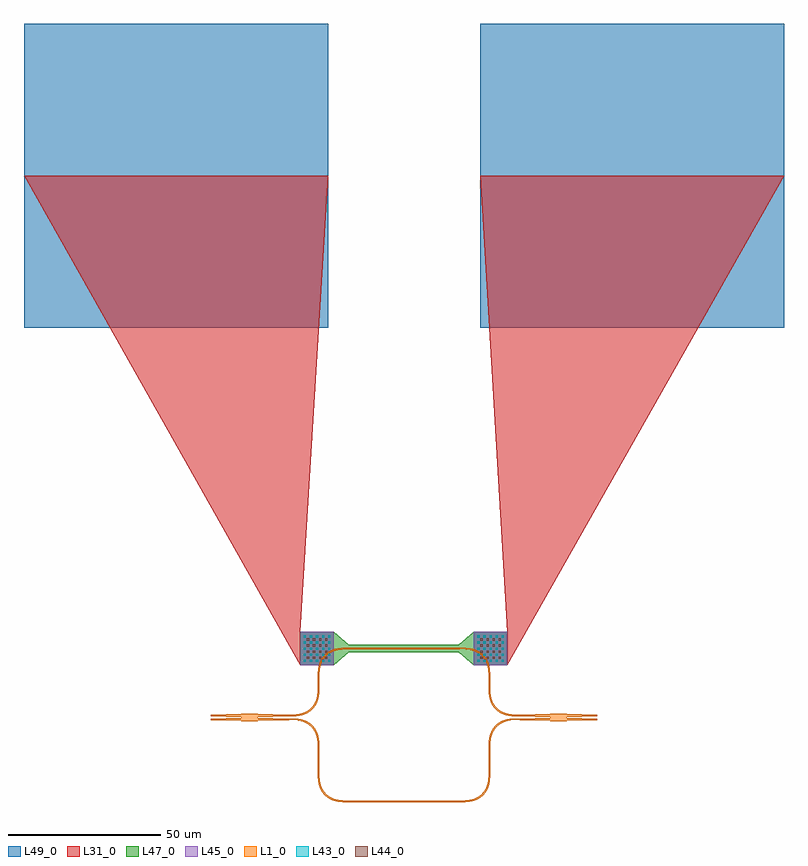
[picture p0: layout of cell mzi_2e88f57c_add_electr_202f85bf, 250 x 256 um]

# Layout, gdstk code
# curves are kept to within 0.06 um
from math import pi, radians
import gdstk
lib = gdstk.Library(unit=1e-6, precision=1e-09)
def R(c, l, rs):  # rectangles x0, y0, x1, y1
    for r in rs: c.add(gdstk.rectangle(r[:2], r[2:], *l))
def P(c, l, *ps):  # polygons
    for p in ps: c.add(gdstk.Polygon(p, *l))
L1_0 = (1, 0)
L31_0 = (31, 0)
L43_0 = (43, 0)
L44_0 = (44, 0)
L45_0 = (45, 0)
L47_0 = (47, 0)
L49_0 = (49, 0)

mmi2x2 = lib.new_cell('mmi2x2')
R(mmi2x2, L1_0, [(0,-1.25,5.5,1.25)])
P(mmi2x2, L1_0, [(-10,-0.375),(0,-0.125),(0,-1.125),(-10,-0.875)],
  [(-10,0.875),(0,1.125),(0,0.125),(-10,0.375)],
  [(15.5,0.375),(5.5,0.125),(5.5,1.125),(15.5,0.875)],
  [(15.5,-0.875),(5.5,-1.125),(5.5,-0.125),(15.5,-0.375)])

bend_euler_9e0718a0 = lib.new_cell('bend_euler_9e0718a0')
P(bend_euler_9e0718a0, L1_0, [(0,-0.25),(2.724,-0.165),(3.761,-0.026),(4.739,0.201),(5.691,0.544),(6.428,0.918),(7.158,1.402),(7.859,2.003),(8.479,2.689),(9.033,3.488),(9.456,4.309),(9.799,5.261),(10.026,6.239),(10.165,7.276),(10.25,10),(9.75,10),(9.634,7.004),(9.463,5.971),(9.18,4.971),(8.508,3.59),(7.575,2.425),(6.41,1.492),(5.029,0.82),(4.029,0.537),(2.996,0.366),(0,0.25)])

straight_a4be237b = lib.new_cell('straight_a4be237b')
R(straight_a4be237b, L1_0, [(0,-0.25,7,0.25)])

straight_6870e926 = lib.new_cell('straight_6870e926')
R(straight_6870e926, L1_0, [(0,-0.25,0.1,0.25)])

straight_fba69bc3 = lib.new_cell('straight_fba69bc3')
R(straight_fba69bc3, L1_0, [(0,-0.25,2,0.25)])

straight_1aa74c1c = lib.new_cell('straight_1aa74c1c')
R(straight_1aa74c1c, L1_0, [(0,-0.25,18.05,0.25)])
R(straight_1aa74c1c, L47_0, [(0,-1.25,18.05,1.25)])

component_sequence_45111 = lib.new_cell('component_sequence_45111566')
component_sequence_45111.add(gdstk.Reference(straight_1aa74c1c, (0,0)))
component_sequence_45111.add(gdstk.Reference(straight_1aa74c1c, (18.05,0)))

compass_8277d85c = lib.new_cell('compass_8277d85c')
R(compass_8277d85c, L47_0, [(-5.5,-5.5,5.5,5.5)])

compass_6419de30 = lib.new_cell('compass_6419de30')
R(compass_6419de30, L45_0, [(-5.5,-5.5,5.5,5.5)])

compass_0253aeff = lib.new_cell('compass_0253aeff')
R(compass_0253aeff, L49_0, [(-5.5,-5.5,5.5,5.5)])

via_ebd8e362 = lib.new_cell('via_ebd8e362')
R(via_ebd8e362, L44_0, [(-0.35,-0.35,0.35,0.35)])

via_fd13653e = lib.new_cell('via_fd13653e')
R(via_fd13653e, L43_0, [(-0.35,-0.35,0.35,0.35)])

via_stack_02e7e014 = lib.new_cell('via_stack_02e7e014')
via_stack_02e7e014.add(gdstk.Reference(compass_8277d85c, (0,0)))
via_stack_02e7e014.add(gdstk.Reference(compass_6419de30, (0,0)))
via_stack_02e7e014.add(gdstk.Reference(compass_0253aeff, (0,0)))
r = gdstk.Reference(via_ebd8e362, (-3,-3)); r.repetition = gdstk.Repetition(4, 4, v1=(2,0), v2=(0,2)); via_stack_02e7e014.add(r)
r = gdstk.Reference(via_fd13653e, (-4,-4)); r.repetition = gdstk.Repetition(5, 5, v1=(2,0), v2=(0,2)); via_stack_02e7e014.add(r)

taper_13d39a01 = lib.new_cell('taper_13d39a01')
P(taper_13d39a01, L47_0, [(0,5.5),(5,1.25),(5,-1.25),(0,-5.5)])

straight_heater_metal_u_ = lib.new_cell('straight_heater_metal_u_f37dff5c')
straight_heater_metal_u_.add(gdstk.Reference(component_sequence_45111, (0,0)))
straight_heater_metal_u_.add(gdstk.Reference(via_stack_02e7e014, (-10.5,0)))
straight_heater_metal_u_.add(gdstk.Reference(via_stack_02e7e014, (46.6,0)))
straight_heater_metal_u_.add(gdstk.Reference(taper_13d39a01, (-5,0)))
straight_heater_metal_u_.add(gdstk.Reference(taper_13d39a01, (41.1,0), rotation=pi))

straight_fa3a3f2f = lib.new_cell('straight_fa3a3f2f')
R(straight_fa3a3f2f, L1_0, [(0,-0.25,0.09,0.25)])

straight_c804d8bd = lib.new_cell('straight_c804d8bd')
R(straight_c804d8bd, L1_0, [(0,-0.25,2,0.25)])

straight_4ae164bc = lib.new_cell('straight_4ae164bc')
R(straight_4ae164bc, L1_0, [(0,-0.25,0.01,0.25)])

straight_d494dd99 = lib.new_cell('straight_d494dd99')
R(straight_d494dd99, L1_0, [(0,-0.25,36.09,0.25)])

straight_32d14105 = lib.new_cell('straight_32d14105')
R(straight_32d14105, L1_0, [(0,-0.25,7,0.25)])

mzi_2e88f57c = lib.new_cell('mzi_2e88f57c')
mzi_2e88f57c.add(gdstk.Reference(mmi2x2, (0,0)))
mzi_2e88f57c.add(gdstk.Reference(mmi2x2, (107.2,0), rotation=pi, x_reflection=True))
mzi_2e88f57c.add(gdstk.Reference(bend_euler_9e0718a0, (15.5,-0.625), x_reflection=True))
mzi_2e88f57c.add(gdstk.Reference(straight_a4be237b, (25.5,-10.625), rotation=3*pi/2))
mzi_2e88f57c.add(gdstk.Reference(bend_euler_9e0718a0, (25.5,-17.625), rotation=3*pi/2))
mzi_2e88f57c.add(gdstk.Reference(straight_6870e926, (35.5,-27.625)))
mzi_2e88f57c.add(gdstk.Reference(bend_euler_9e0718a0, (15.5,0.625)))
mzi_2e88f57c.add(gdstk.Reference(straight_fba69bc3, (25.5,10.625), rotation=pi/2))
mzi_2e88f57c.add(gdstk.Reference(bend_euler_9e0718a0, (35.5,22.625), rotation=pi))
mzi_2e88f57c.add(gdstk.Reference(straight_heater_metal_u_, (35.5,22.625)))
mzi_2e88f57c.add(gdstk.Reference(bend_euler_9e0718a0, (71.69,22.625), x_reflection=True))
mzi_2e88f57c.add(gdstk.Reference(bend_euler_9e0718a0, (81.69,10.625), rotation=3*pi/2))
mzi_2e88f57c.add(gdstk.Reference(straight_fa3a3f2f, (71.6,22.625)))
mzi_2e88f57c.add(gdstk.Reference(straight_c804d8bd, (81.69,12.625), rotation=3*pi/2))
mzi_2e88f57c.add(gdstk.Reference(straight_4ae164bc, (91.69,0.625)))
mzi_2e88f57c.add(gdstk.Reference(bend_euler_9e0718a0, (71.69,-27.625)))
mzi_2e88f57c.add(gdstk.Reference(bend_euler_9e0718a0, (81.69,-10.625), rotation=pi/2, x_reflection=True))
mzi_2e88f57c.add(gdstk.Reference(straight_d494dd99, (35.6,-27.625)))
mzi_2e88f57c.add(gdstk.Reference(straight_32d14105, (81.69,-17.625), rotation=pi/2))
mzi_2e88f57c.add(gdstk.Reference(straight_4ae164bc, (91.69,-0.625)))

compass_f8d1f57e = lib.new_cell('compass_f8d1f57e')
R(compass_f8d1f57e, L49_0, [(-50,-50,50,50)])

pad = lib.new_cell('pad')
pad.add(gdstk.Reference(compass_f8d1f57e, (0,0)))

pad_array_d3f18571 = lib.new_cell('pad_array_d3f18571')
r = gdstk.Reference(pad, (0,0)); r.repetition = gdstk.Repetition(2, 1, v1=(150,0), v2=(0,150)); pad_array_d3f18571.add(r)

route_quad_9da2ab6b = lib.new_cell('route_quad_9da2ab6b')
P(route_quad_9da2ab6b, L31_0, [(-71.4,178.125),(28.6,178.125),(19.5,28.125),(19.5,17.125)])

route_quad_488a21bc = lib.new_cell('route_quad_488a21bc')
P(route_quad_488a21bc, L31_0, [(87.6,17.125),(87.6,28.125),(78.6,178.125),(178.6,178.125)])

mzi_2e88f57c_add_electr_ = lib.new_cell('mzi_2e88f57c_add_electr_202f85bf')
mzi_2e88f57c_add_electr_.add(gdstk.Reference(mzi_2e88f57c, (0,0)))
mzi_2e88f57c_add_electr_.add(gdstk.Reference(pad_array_d3f18571, (-21.4,178.125)))
mzi_2e88f57c_add_electr_.add(gdstk.Reference(route_quad_9da2ab6b, (0,0)))
mzi_2e88f57c_add_electr_.add(gdstk.Reference(route_quad_488a21bc, (0,0)))

lib.write_gds('mzi_2e88f57c_add_electr_202f85bf.gds')
